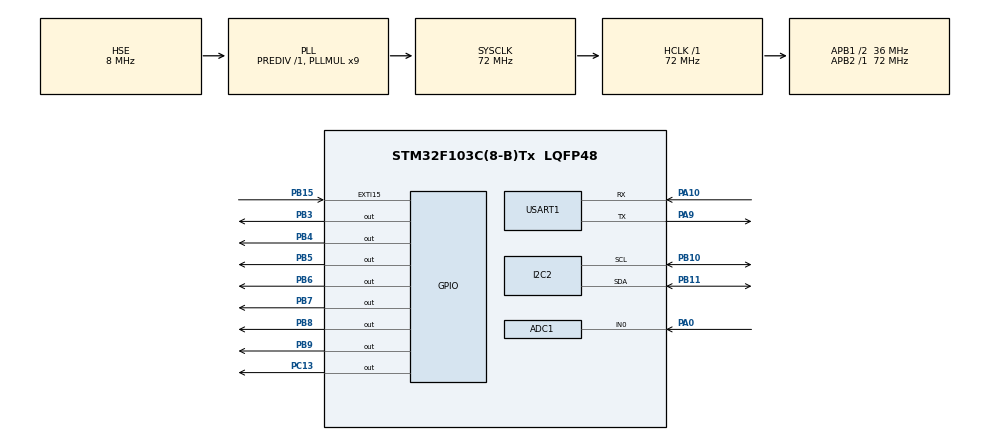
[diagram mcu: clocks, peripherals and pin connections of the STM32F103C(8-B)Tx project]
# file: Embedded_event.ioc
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ADC1.Channel-0\#ChannelRegularConversion=ADC_CHANNEL_0
ADC1.ContinuousConvMode=ENABLE
ADC1.NbrOfConversionFlag=1
ADC1.Rank-0\#ChannelRegularConversion=1
ADC1.SamplingTime-0\#ChannelRegularConversion=ADC_SAMPLETIME_239CYCLES_5
ADC1.master=1
Dma.ADC1.0.Direction=DMA_PERIPH_TO_MEMORY
Dma.ADC1.0.Instance=DMA1_Channel1
Dma.ADC1.0.MemDataAlignment=DMA_MDATAALIGN_HALFWORD
Dma.ADC1.0.MemInc=DMA_MINC_ENABLE
Dma.ADC1.0.Mode=DMA_CIRCULAR
Dma.ADC1.0.PeriphDataAlignment=DMA_PDATAALIGN_HALFWORD
Dma.ADC1.0.PeriphInc=DMA_PINC_DISABLE
Dma.ADC1.0.Priority=DMA_PRIORITY_LOW
Dma.Request0=ADC1
Mcu.Family=STM32F1
Mcu.Name=STM32F103C(8-B)Tx
Mcu.Package=LQFP48
NVIC.DMA1_Channel1_IRQn=true\:0\:0\:false\:false\:true\:false\:true\:true
NVIC.EXTI15_10_IRQn=true\:0\:0\:false\:false\:true\:true\:true\:true
NVIC.PriorityGroup=NVIC_PRIORITYGROUP_4
NVIC.USART1_IRQn=true\:0\:0\:false\:false\:true\:true\:true\:true
PA0-WKUP.Signal=ADCx_IN0
PA10.Mode=Asynchronous
PA10.Signal=USART1_RX
PA13.Mode=Serial_Wire
PA13.Signal=SYS_JTMS-SWDIO
PA14.Mode=Serial_Wire
PA14.Signal=SYS_JTCK-SWCLK
PA9.Mode=Asynchronous
PA9.Signal=USART1_TX
PB10.Mode=I2C
PB10.Signal=I2C2_SCL
PB11.Mode=I2C
PB11.Signal=I2C2_SDA
PB15.GPIO_ModeDefaultEXTI=GPIO_MODE_IT_FALLING
PB15.Signal=GPXTI15
PB3.Signal=GPIO_Output
PB4.Signal=GPIO_Output
PB5.Signal=GPIO_Output
PB6.Signal=GPIO_Output
PB7.Signal=GPIO_Output
PB8.Signal=GPIO_Output
PB9.Signal=GPIO_Output
PC13-TAMPER-RTC.Signal=GPIO_Output
PD0-OSC_IN.Mode=HSE-External-Oscillator
PD0-OSC_IN.Signal=RCC_OSC_IN
PD1-OSC_OUT.Mode=HSE-External-Oscillator
PD1-OSC_OUT.Signal=RCC_OSC_OUT
ProjectManager.HeapSize=0x200
ProjectManager.StackSize=0x400
ProjectManager.TargetToolchain=STM32CubeIDE
RCC.ADCPresc=RCC_ADCPCLK2_DIV6
RCC.AHBFreq_Value=72000000
RCC.APB1CLKDivider=RCC_HCLK_DIV2
RCC.APB1Freq_Value=36000000
RCC.APB1TimFreq_Value=72000000
RCC.APB2Freq_Value=72000000
RCC.APB2TimFreq_Value=72000000
RCC.HCLKFreq_Value=72000000
RCC.PLLMUL=RCC_PLL_MUL9
RCC.PLLSourceVirtual=RCC_PLLSOURCE_HSE
RCC.SYSCLKFreq_VALUE=72000000
RCC.SYSCLKSource=RCC_SYSCLKSOURCE_PLLCLK
RCC.USBFreq_Value=72000000
SH.ADCx_IN0.0=ADC1_IN0,IN0
USART1.VirtualMode=VM_ASYNC
board=custom

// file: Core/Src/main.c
/* USER CODE BEGIN Header */
/**
  ******************************************************************************
  * @file           : main.c
  * @brief          : Main program body
  ******************************************************************************
  * @attention
  *
  * Copyright (c) 2024 STMicroelectronics.
  * All rights reserved.
  *
  * This software is licensed under terms that can be found in the LICENSE file
  * in the root directory of this software component.
  * If no LICENSE file comes with this software, it is provided AS-IS.
  *
  ******************************************************************************
  */
/* USER CODE END Header */
#include "main.h"
#include "adc.h"
#include "dma.h"
#include "i2c.h"
#include "usart.h"
#include "gpio.h"

/* USER CODE BEGIN Includes */
#include "lcd_16x2.h"
#include "stdio.h"
#include "string.h"
#include "stdlib.h"
#include "math.h"

#include "ssd1306_conf_template.h"
#include "ssd1306_fonts.h"
#include "ssd1306_tests.h"
#include "ssd1306.h"
/* USER CODE END Includes */

/* USER CODE BEGIN PD */
#define T1 1000
#define T2 3000
#define T3 5000
/* USER CODE END PD */

void SystemClock_Config(void);

/* USER CODE BEGIN 0 */

uint8_t do_C[8] = {0x0,0x06,0x06,0x00,0x00,0x00,0x00,0x00};

uint16_t data[1];
uint32_t nhietdo;

//uint8_t* buff_temp[20];
char temp_char[6];

uint32_t period = 1000;
uint16_t temp_limit = 20;
uint8_t period_char[5], temp_limit_char[2] = "20";

uint8_t buffer[8];
uint8_t rx_buff[8] = "M1";

uint32_t previousMillis = 0;
uint32_t currentMillis = 0;
uint32_t count = 0;
uint32_t tick;
uint8_t oled_on = 1, lcd_on = 0;

int __io_putchar (int ch)
{
   HAL_UART_Transmit(&huart1, (uint8_t *)&ch, 1, 100);
   return ch;
}

void sensors_read(void)
{
	/********Nhiet do**********/
	nhietdo = (3.3*100*data[0])/4095.0 + 5;
	sprintf(temp_char,"%d", nhietdo);
}

void Lcd_display(void)
{
	// hien thị nhiet do len lcd
	  if (lcd_on)
	  {
		  Lcd_clear_display();
		  sprintf(temp_char,"%d", nhietdo);
		  Lcd_gotoxy(0, 0);
		  Lcd_write_string("Temp: ");
		  Lcd_gotoxy(6, 0);
		  Lcd_write_string(temp_char);
		  Lcd_create_custom_char(0, do_C);
		  Lcd_write_custom_char(9, 0, 0);
		  Lcd_gotoxy(10, 0);
		  Lcd_write_string("C");

		  if(nhietdo > temp_limit)
		  {
			 Lcd_gotoxy(0,1);
			 Lcd_write_string("Over temp limit!!!");
		  }
	  }

	  else
	  	  {
		  	  Lcd_clear_display();
		  	  Lcd_gotoxy(5, 0);
		  	  Lcd_write_string("LCD_OFF");
	  	  }
}

void oled_display(void)
{
	if (oled_on)
	{
		sprintf(temp_char,"%d", nhietdo);
		ssd1306_Fill(Black);
		ssd1306_SetCursor(4,10);
		ssd1306_WriteString("T: ", Font_11x18, White);
		ssd1306_WriteString(temp_char, Font_11x18, White);
		ssd1306_WriteString(" C", Font_11x18, White);
		ssd1306_UpdateScreen();
		if(nhietdo > temp_limit)
			{
				Lcd_gotoxy(0,1);
				ssd1306_SetCursor(4, 40);
				ssd1306_WriteString("Over Temp Limit !", Font_7x10, White);
				ssd1306_UpdateScreen();
			}
	}
	else
		{
			ssd1306_Fill(Black);
			ssd1306_SetCursor(0,25);
			ssd1306_WriteString("OLED OFF", Font_16x26, White);
			ssd1306_UpdateScreen();
		}
}

void uart_temp_display(void)
{
	printf("\nTemperature: %d \xB0\C", nhietdo);
	printf("\nTemperature limit: %d \xB0\C\n",temp_limit);
	if(nhietdo > temp_limit)
	{
		printf("->Over temperature limit!!!\n");
	}
}

void HAL_UART_RxCpltCallback(UART_HandleTypeDef *huart)
{
	if(huart->Instance == USART1) strcpy(rx_buff, buffer);

	// periods: M1Pxxxxx
	if(rx_buff[2] == 80)
	{
		for(int i=0;i<5;i++)
		{
			period_char[i] = rx_buff[i+3];
		}
		printf("\nSet period: %d ms", atoi(period_char));
		period = atoi(period_char);
		oled_on = 1;
	}

	//Temp limit: M1LT00xx
	if ((rx_buff[2] == 'L') && (rx_buff[3] == 84))
	{
		for(int i=0;i<2;i++)
		{
			temp_limit_char[i] = rx_buff[i+6];
		}
		temp_limit = atoi(temp_limit_char);
		printf("\nUpdate temperature limit: %d", temp_limit);
		oled_on = 1;
	}

	// hien thi mode 2
	if(rx_buff[1] == 50)
	{
		HAL_UART_Transmit(&huart1, (uint8_t*)"\nMode 2\n", sizeof("\nMode 2\n"), 100);
		//M2LCD---
			if ((rx_buff[3] == 'C')&& (rx_buff[4] == 'D'))
			{
				// hien thi nhiet do len LCD
				HAL_UART_Transmit(&huart1, (uint8_t*)"Display LCD\n", sizeof("Display LCD\n"), 100);
				lcd_on = 1;
				oled_on = 0;
			}

		//M2OLED--
			if(rx_buff[2] == 'O')
			{
				// hien thi nhiet do len oled
				HAL_UART_Transmit(&huart1, (uint8_t*)"Display Oled\n", sizeof("Display Oled\n"), 100);
				oled_on = 1;
				lcd_on = 0;
			}
		//M2BOTH--
			if(rx_buff[2] == 'B')
			{
				// hien thi len ca hai man hinh
				HAL_UART_Transmit(&huart1, (uint8_t*)"Display All\n", sizeof("Display All\n"), 100);
				oled_on = 1;
				lcd_on = 1;
			}
		//M2NONE---
			if((rx_buff[2] == 'N') &&(rx_buff[3] == 'O'))
			{
				// hien thi len ca hai man hinh
				HAL_UART_Transmit(&huart1, (uint8_t*)"OFF All\n", sizeof("OFF All\n"), 100);
				oled_on = 0;
				lcd_on = 0;
			}
	}

	HAL_UART_Receive_IT(&huart1, buffer, 8);
}
//Button thay doi trang thai man hinh LCD & OLED
void HAL_GPIO_EXTI_Callback(uint16_t GPIO_Pin)
{
	currentMillis = HAL_GetTick();
	if ((GPIO_Pin == GPIO_PIN_15) && ((currentMillis - previousMillis) > 40))
	{
		count++;
		if (count == 1)
		{
			HAL_UART_Transmit(&huart1,(uint8_t*)"\nDisplay OLED & LCD", sizeof("\nDisplay OLED & LCD"), 100);
			oled_on = 1;
			lcd_on = 1;
		}

		if (count == 2)
		{
			HAL_UART_Transmit(&huart1, (uint8_t*)"\nOff OLED & LCD",sizeof("\nOff OLED & LCD") , 100);
			oled_on = 0;
			lcd_on = 0;
			count = 0;
		}

		if (count > 2) count = 0;
		previousMillis = currentMillis;
	}
}

/* USER CODE END 0 */

int main(void)
{

  /* MCU Configuration--------------------------------------------------------*/

  /* Reset of all peripherals, Initializes the Flash interface and the Systick. */
  HAL_Init();

  /* Configure the system clock */
  SystemClock_Config();

  /* Initialize all configured peripherals */
  MX_GPIO_Init();
  MX_DMA_Init();
  MX_ADC1_Init();
  MX_I2C2_Init();
  MX_USART1_UART_Init();
  /* USER CODE BEGIN 2 */
  	HAL_ADC_Start_DMA(&hadc1, (uint32_t*)data, 1);
  	HAL_UART_Receive_IT(&huart1, buffer, 8);
  	Lcd_Init();
    ssd1306_Init();
    Lcd_gotoxy(5, 0);
    Lcd_write_string("START");
    HAL_UART_Transmit(&huart1, (uint8_t*)"START", sizeof("START"), 100);
    ssd1306_Fill(Black);
    ssd1306_SetCursor(25,25);
    ssd1306_WriteString("START", Font_16x26, White);
    ssd1306_UpdateScreen();
    HAL_Delay(2000 - 350);
    Lcd_clear_display();

  /* USER CODE END 2 */

  /* Infinite loop */
  while (1)
  {

    /* USER CODE BEGIN 3 */

	  //read sensors
	  sensors_read();

	  //UART
	  tick = HAL_GetTick();
	  printf("\nTick: %d ms",tick);
	  uart_temp_display();

	  //display LCD, OLED
	  Lcd_display();
	  oled_display();

	  HAL_GPIO_TogglePin(GPIOC, GPIO_PIN_13);
	  //Delay period
	  if ((oled_on == 1) && (lcd_on == 1)) HAL_Delay(period-394);
	  if ((oled_on == 0) && (lcd_on == 1)) HAL_Delay(period-263);
	  if ((oled_on == 1) && (lcd_on == 0)) HAL_Delay(period-259);
	  if ((oled_on == 0) && (lcd_on == 0)) HAL_Delay(period-160);
  }
  /* USER CODE END 3 */
}

void SystemClock_Config(void)
{
  RCC_OscInitTypeDef RCC_OscInitStruct = {0};
  RCC_ClkInitTypeDef RCC_ClkInitStruct = {0};
  RCC_PeriphCLKInitTypeDef PeriphClkInit = {0};

  /** Initializes the RCC Oscillators according to the specified parameters
  * in the RCC_OscInitTypeDef structure.
  */
  RCC_OscInitStruct.OscillatorType = RCC_OSCILLATORTYPE_HSE;
  RCC_OscInitStruct.HSEState = RCC_HSE_ON;
  RCC_OscInitStruct.HSEPredivValue = RCC_HSE_PREDIV_DIV1;
  RCC_OscInitStruct.HSIState = RCC_HSI_ON;
  RCC_OscInitStruct.PLL.PLLState = RCC_PLL_ON;
  RCC_OscInitStruct.PLL.PLLSource = RCC_PLLSOURCE_HSE;
  RCC_OscInitStruct.PLL.PLLMUL = RCC_PLL_MUL9;
  if (HAL_RCC_OscConfig(&RCC_OscInitStruct) != HAL_OK)
  {
    Error_Handler();
  }

  /** Initializes the CPU, AHB and APB buses clocks
  */
  RCC_ClkInitStruct.ClockType = RCC_CLOCKTYPE_HCLK|RCC_CLOCKTYPE_SYSCLK
                              |RCC_CLOCKTYPE_PCLK1|RCC_CLOCKTYPE_PCLK2;
  RCC_ClkInitStruct.SYSCLKSource = RCC_SYSCLKSOURCE_PLLCLK;
  RCC_ClkInitStruct.AHBCLKDivider = RCC_SYSCLK_DIV1;
  RCC_ClkInitStruct.APB1CLKDivider = RCC_HCLK_DIV2;
  RCC_ClkInitStruct.APB2CLKDivider = RCC_HCLK_DIV1;

  if (HAL_RCC_ClockConfig(&RCC_ClkInitStruct, FLASH_LATENCY_2) != HAL_OK)
  {
    Error_Handler();
  }
  PeriphClkInit.PeriphClockSelection = RCC_PERIPHCLK_ADC;
  PeriphClkInit.AdcClockSelection = RCC_ADCPCLK2_DIV6;
  if (HAL_RCCEx_PeriphCLKConfig(&PeriphClkInit) != HAL_OK)
  {
    Error_Handler();
  }
}

void Error_Handler(void)
{
  __disable_irq();
  while (1)
  {
  }
}
